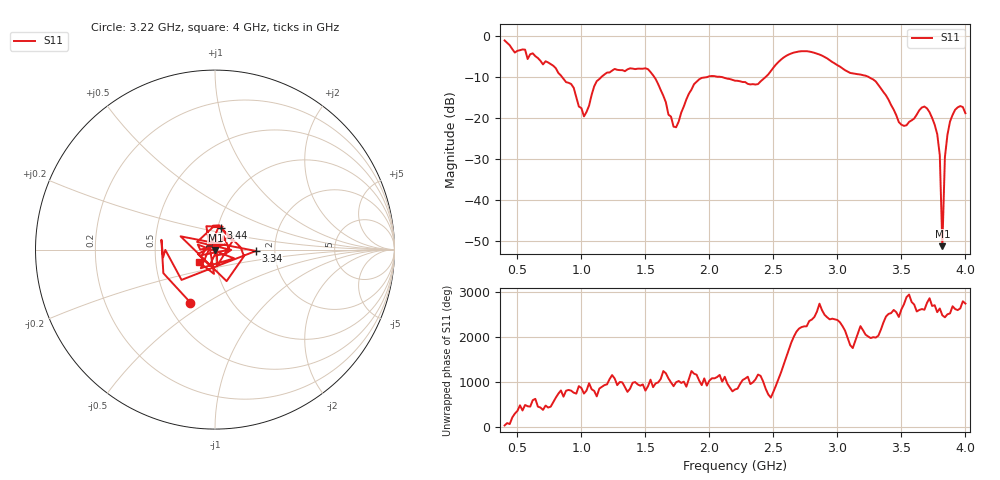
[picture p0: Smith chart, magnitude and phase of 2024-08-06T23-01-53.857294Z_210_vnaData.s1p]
!Created with skrf (http://scikit-rf.org).
# Hz S RI R 50.0
!freq ReS11 ImS11
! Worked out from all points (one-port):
!   181 points, 400 MHz to 4 GHz, reference 50 ohm
!   lowest |S11| = -51.2 dB at 3.82 GHz (marker M1), VSWR 1.01, Z = 50.2 - j0.195 ohm
!   |S11| at or under -10 dB: 1.568 GHz to 1.99 GHz (422 MHz wide, 23.7 % of centre); 2.059 GHz to 2.442 GHz (382.4 MHz wide, 17 % of centre); 3.24 GHz to end of sweep (the widest 3 of 4)
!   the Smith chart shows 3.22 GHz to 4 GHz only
!   S11 on the Smith chart (normalised r, x): 3.22 GHz: 0.65, -0.43; 3.34 GHz: 1.59, -0.03; 3.44 GHz: 1.04, +0.26; 4 GHz: 0.83, -0.12
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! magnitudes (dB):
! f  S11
! 400 MHz  -1.2
! 860 MHz  -10.5
! 940 MHz  -12.7
! 1.02 GHz  -19.6
! 1.12 GHz  -11.1
! 1.3 GHz  -8.4
! 1.52 GHz  -8.2
! 1.6 GHz  -11.8
! 1.72 GHz  -22.1
! 1.76 GHz  -20.9
! 1.92 GHz  -10.6
! 2.2 GHz  -11.0
! 2.38 GHz  -11.8
! 2.66 GHz  -4.1
! 3.1 GHz  -9.1
! 3.22 GHz  -9.8
! 3.34 GHz  -12.9
! 3.44 GHz  -18.0
! 3.5 GHz  -21.7
! 3.56 GHz  -21.0
! 3.68 GHz  -17.2
! 3.78 GHz  -24.0
! 3.8 GHz  -29.1
! 3.82 GHz  -51.2
! 3.84 GHz  -29.5
! 3.86 GHz  -24.1
! 3.92 GHz  -18.0
! 4 GHz  -18.9
